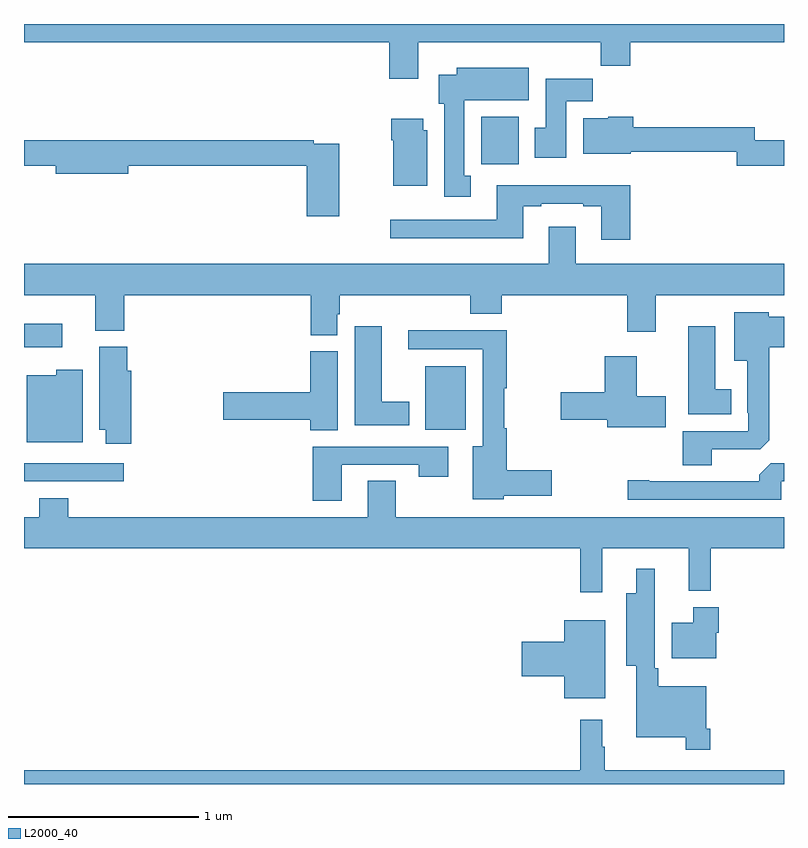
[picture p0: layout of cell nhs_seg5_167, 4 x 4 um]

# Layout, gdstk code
import gdstk
lib = gdstk.Library(unit=1e-6, precision=1e-09)
def R(c, l, rs):  # rectangles x0, y0, x1, y1
    for r in rs: c.add(gdstk.rectangle(r[:2], r[2:], *l))
def P(c, l, *ps):  # polygons
    for p in ps: c.add(gdstk.Polygon(p, *l))
L2000_40 = (2000, 40)

nhs_seg5_167 = lib.new_cell('nhs_seg5_167')
R(nhs_seg5_167, L2000_40, [(119,910.392,119.524,910.488), (121.112,910.664,121.324,910.999), (119,911.099,119.2,911.221), (121.407,912.06,121.603,912.31)])
P(nhs_seg5_167, L2000_40, [(121.075,912.704),(122.035,912.704),(122.035,912.58),(122.192,912.58),(122.192,912.704),(123,912.704),(123,912.799),(119,912.799),(119,912.704),(120.923,912.704),(120.923,912.51),(121.075,912.51)],
  [(121.351,912.001),(121.318,912.001),(121.318,912.398),(121.657,912.398),(121.657,912.568),(121.277,912.568),(121.277,912.532),(121.184,912.532),(121.184,912.378),(121.211,912.378),(121.211,911.889),(121.351,911.889)],
  [(121.855,912.392),(121.994,912.392),(121.994,912.51),(121.745,912.51),(121.745,912.252),(121.688,912.252),(121.688,912.096),(121.855,912.096)],
  [(123,912.188),(122.847,912.188),(122.847,912.256),(122.207,912.256),(122.207,912.31),(122.076,912.31),(122.076,912.304),(121.943,912.304),(121.943,912.116),(122.194,912.116),(122.194,912.127),(122.751,912.127),(122.751,912.052),(123,912.052)],
  [(121.123,912.24),(121.102,912.24),(121.102,912.301),(120.932,912.301),(120.932,912.188),(120.944,912.188),(120.944,911.948),(121.123,911.948)],
  [(120.658,912.168),(120.524,912.168),(120.524,912.188),(119,912.188),(119,912.052),(119.168,912.052),(119.168,912.01),(119.548,912.01),(119.548,912.052),(120.488,912.052),(120.488,911.787),(120.658,911.787)],
  [(122.192,911.95),(121.487,911.95),(121.487,911.769),(120.927,911.769),(120.927,911.672),(121.627,911.672),(121.627,911.841),(121.723,911.841),(121.723,911.853),(121.943,911.853),(121.943,911.841),(122.039,911.841),(122.039,911.664),(122.192,911.664)],
  [(120.649,911.271),(120.662,911.271),(120.662,911.372),(121.349,911.372),(121.349,911.273),(121.514,911.273),(121.514,911.372),(122.174,911.372),(122.174,911.178),(122.326,911.178),(122.326,911.372),(123,911.372),(123,911.536),(121.903,911.536),(121.903,911.731),(121.763,911.731),(121.763,911.536),(119,911.536),(119,911.372),(119.375,911.372),(119.375,911.185),(119.528,911.185),(119.528,911.372),(120.509,911.372),(120.509,911.161),(120.649,911.161)],
  [(122.62,910.56),(122.874,910.56),(122.923,910.609),(122.923,911.099),(123,911.099),(123,911.257),(122.919,911.257),(122.919,911.281),(122.738,911.281),(122.738,911.027),(122.807,911.027),(122.807,910.753),(122.811,910.753),(122.811,910.656),(122.468,910.656),(122.468,910.477),(122.62,910.477)],
  [(122.722,910.876),(122.638,910.876),(122.638,911.209),(122.495,911.209),(122.495,910.745),(122.722,910.745)],
  [(121.027,910.81),(120.883,910.81),(120.883,911.209),(120.74,911.209),(120.74,910.688),(121.027,910.688)],
  [(121.524,910.316),(121.777,910.316),(121.777,910.451),(121.541,910.451),(121.541,910.672),(121.528,910.672),(121.528,910.881),(121.541,910.881),(121.541,911.186),(121.023,911.186),(121.023,911.088),(121.415,911.088),(121.415,910.576),(121.361,910.576),(121.361,910.298),(121.524,910.298)],
  [(119.564,910.974),(119.543,910.974),(119.543,911.1),(119.396,911.1),(119.396,910.664),(119.429,910.664),(119.429,910.59),(119.564,910.59)],
  [(120.652,911.076),(120.506,911.076),(120.506,910.862),(120.048,910.862),(120.048,910.715),(120.506,910.715),(120.506,910.66),(120.652,910.66)],
  [(122.377,910.839),(122.224,910.839),(122.224,911.05),(122.057,911.05),(122.057,910.862),(121.824,910.862),(121.824,910.715),(122.069,910.715),(122.069,910.676),(122.377,910.676)],
  [(119.308,910.978),(119.169,910.978),(119.169,910.951),(119.015,910.951),(119.015,910.598),(119.308,910.598)],
  [(120.673,910.479),(121.078,910.479),(121.078,910.416),(121.234,910.416),(121.234,910.575),(120.521,910.575),(120.521,910.29),(120.673,910.29)],
  [(122.985,910.392),(123,910.392),(123,910.488),(122.931,910.488),(122.87,910.426),(122.87,910.392),(122.29,910.392),(122.29,910.397),(122.178,910.397),(122.178,910.296),(122.985,910.296)],
  [(122.043,910.04),(122.498,910.04),(122.498,909.815),(122.615,909.815),(122.615,910.04),(123,910.04),(123,910.204),(120.957,910.204),(120.957,910.394),(120.809,910.394),(120.809,910.204),(119.234,910.204),(119.234,910.303),(119.081,910.303),(119.081,910.204),(119,910.204),(119,910.04),(121.927,910.04),(121.927,909.807),(122.043,909.807)],
  [(122.612,909.091),(122.592,909.091),(122.592,909.313),(122.339,909.313),(122.339,909.409),(122.32,909.409),(122.32,909.645),(122.319,909.645),(122.319,909.931),(122.222,909.931),(122.222,909.802),(122.171,909.802),(122.171,909.422),(122.222,909.422),(122.222,909.044),(122.484,909.044),(122.484,908.979),(122.612,908.979)],
  [(122.644,909.594),(122.657,909.594),(122.657,909.73),(122.522,909.73),(122.522,909.649),(122.408,909.649),(122.408,909.461),(122.644,909.461)],
  [(122.059,909.661),(121.844,909.661),(121.844,909.548),(121.62,909.548),(121.62,909.365),(121.844,909.365),(121.844,909.251),(122.059,909.251)],
  [(123,908.872),(122.056,908.872),(122.056,908.996),(122.044,908.996),(122.044,909.136),(121.927,909.136),(121.927,908.872),(119,908.872),(119,908.799),(123,908.799)])

lib.write_gds('nhs_seg5_167.gds')
